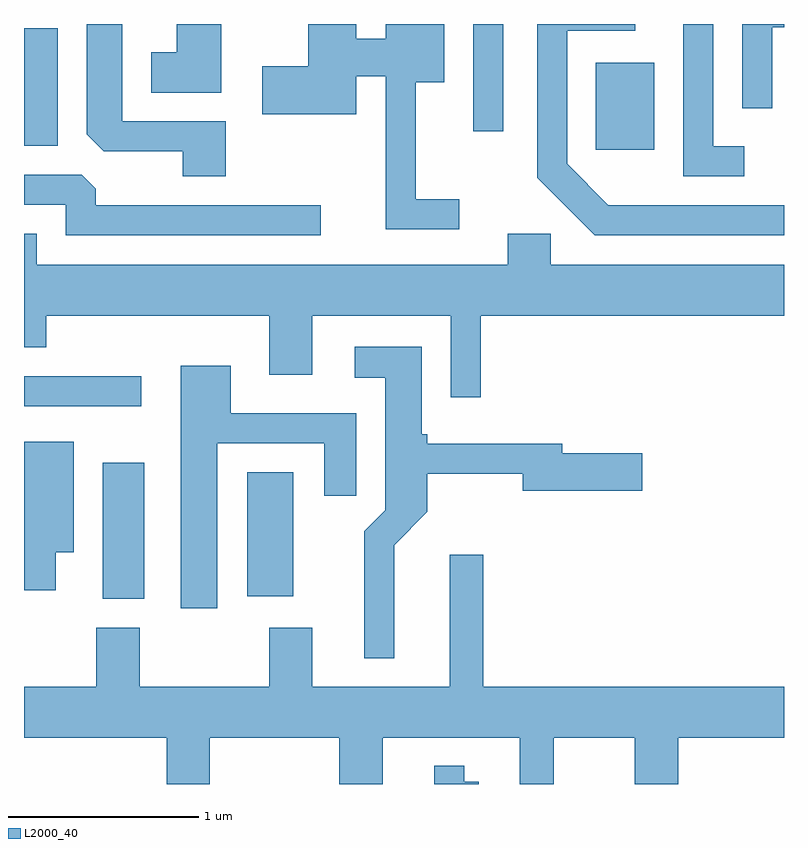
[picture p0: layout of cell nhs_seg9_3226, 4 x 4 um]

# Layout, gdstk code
import gdstk
lib = gdstk.Library(unit=1e-6, precision=1e-09)
def R(c, l, rs):  # rectangles x0, y0, x1, y1
    for r in rs: c.add(gdstk.rectangle(r[:2], r[2:], *l))
def P(c, l, *ps):  # polygons
    for p in ps: c.add(gdstk.Polygon(p, *l))
L2000_40 = (2000, 40)

nhs_seg9_3226 = lib.new_cell('nhs_seg9_3226')
R(nhs_seg9_3226, L2000_40, [(280.026,2021.406,280.244,2022.124), (280.786,2021.421,281.029,2022.074), (279.611,2022.421,280.228,2022.579), (282.621,2023.771,282.929,2024.229), (279.611,2023.791,279.789,2024.409), (281.976,2023.868,282.134,2024.432)])
P(nhs_seg9_3226, L2000_40, [(281.903,2023.509),(281.674,2023.509),(281.674,2024.126),(281.824,2024.126),(281.824,2024.432),(281.516,2024.432),(281.516,2024.354),(281.359,2024.354),(281.359,2024.432),(281.106,2024.432),(281.106,2024.209),(280.866,2024.209),(280.866,2023.956),(281.359,2023.956),(281.359,2024.156),(281.516,2024.156),(281.516,2023.351),(281.903,2023.351)],
  [(280.649,2024.432),(280.416,2024.432),(280.416,2024.284),(280.281,2024.284),(280.281,2024.071),(280.649,2024.071)],
  [(283.403,2023.789),(283.239,2023.789),(283.239,2024.432),(283.081,2024.432),(283.081,2023.631),(283.403,2023.631)],
  [(283.611,2023.479),(282.687,2023.479),(282.469,2023.697),(282.469,2024.396),(282.828,2024.396),(282.828,2024.432),(282.311,2024.432),(282.311,2023.624),(282.614,2023.321),(283.611,2023.321)],
  [(280.674,2023.919),(280.129,2023.919),(280.129,2024.432),(279.941,2024.432),(279.941,2023.852),(280.032,2023.761),(280.446,2023.761),(280.446,2023.631),(280.674,2023.631)],
  [(283.549,2024.416),(283.611,2024.416),(283.611,2024.432),(283.391,2024.432),(283.391,2023.988),(283.549,2023.988)],
  [(281.173,2023.479),(279.989,2023.479),(279.989,2023.564),(279.914,2023.639),(279.611,2023.639),(279.611,2023.481),(279.831,2023.481),(279.831,2023.321),(281.173,2023.321)],
  [(282.014,2022.896),(283.611,2022.896),(283.611,2023.164),(282.384,2023.164),(282.384,2023.329),(282.156,2023.329),(282.156,2023.164),(279.679,2023.164),(279.679,2023.329),(279.611,2023.329),(279.611,2022.731),(279.729,2022.731),(279.729,2022.896),(280.901,2022.896),(280.901,2022.586),(281.129,2022.586),(281.129,2022.896),(281.856,2022.896),(281.856,2022.468),(282.014,2022.468)],
  [(281.559,2021.689),(281.734,2021.864),(281.734,2022.066),(282.236,2022.066),(282.236,2021.976),(282.864,2021.976),(282.864,2022.174),(282.444,2022.174),(282.444,2022.224),(281.734,2022.224),(281.734,2022.274),(281.704,2022.274),(281.704,2022.734),(281.353,2022.734),(281.353,2022.571),(281.511,2022.571),(281.511,2021.872),(281.401,2021.762),(281.401,2021.093),(281.559,2021.093)],
  [(280.629,2022.226),(281.191,2022.226),(281.191,2021.948),(281.359,2021.948),(281.359,2022.384),(280.699,2022.384),(280.699,2022.634),(280.436,2022.634),(280.436,2021.356),(280.629,2021.356)],
  [(279.779,2021.651),(279.874,2021.651),(279.874,2022.234),(279.611,2022.234),(279.611,2021.451),(279.779,2021.451)],
  [(280.589,2020.676),(281.271,2020.676),(281.271,2020.432),(281.499,2020.432),(281.499,2020.676),(282.221,2020.676),(282.221,2020.432),(282.399,2020.432),(282.399,2020.676),(282.826,2020.676),(282.826,2020.432),(283.054,2020.432),(283.054,2020.676),(283.611,2020.676),(283.611,2020.944),(282.029,2020.944),(282.029,2021.639),(281.851,2021.639),(281.851,2020.944),(281.129,2020.944),(281.129,2021.254),(280.901,2021.254),(280.901,2020.944),(280.219,2020.944),(280.219,2021.254),(279.991,2021.254),(279.991,2020.944),(279.611,2020.944),(279.611,2020.676),(280.361,2020.676),(280.361,2020.432),(280.589,2020.432)],
  [(282.004,2020.444),(281.929,2020.444),(281.929,2020.528),(281.771,2020.528),(281.771,2020.432),(282.004,2020.432)])

lib.write_gds('nhs_seg9_3226.gds')
